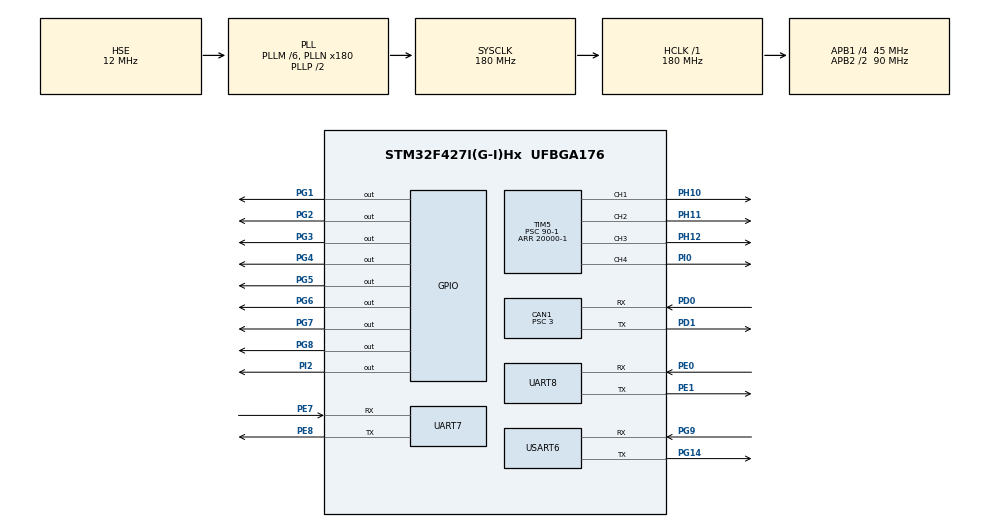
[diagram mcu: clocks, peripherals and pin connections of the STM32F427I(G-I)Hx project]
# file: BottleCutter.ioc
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CAN1.ABOM=ENABLE
CAN1.BS1=CAN_BS1_13TQ
CAN1.CalculateBaudRate=1000000
CAN1.CalculateTimeBit=999.99
CAN1.CalculateTimeQuantum=66.66666666666666
CAN1.NART=DISABLE
CAN1.Prescaler=3
Mcu.Family=STM32F4
Mcu.Name=STM32F427I(G-I)Hx
Mcu.Package=UFBGA176
NVIC.CAN1_RX0_IRQn=true\:1\:0\:true\:false\:true\:true\:true
NVIC.PriorityGroup=NVIC_PRIORITYGROUP_4
NVIC.TIM5_IRQn=true\:1\:0\:true\:false\:true\:true\:true
NVIC.UART7_IRQn=true\:1\:0\:true\:false\:true\:true\:true
NVIC.UART8_IRQn=true\:1\:0\:true\:false\:true\:true\:true
NVIC.USART6_IRQn=true\:1\:0\:true\:false\:true\:true\:true
PA13.Mode=Serial_Wire
PA13.Signal=SYS_JTMS-SWDIO
PA14.Mode=Serial_Wire
PA14.Signal=SYS_JTCK-SWCLK
PD0.Mode=CAN_Activate
PD0.Signal=CAN1_RX
PD1.Mode=CAN_Activate
PD1.Signal=CAN1_TX
PE0.Mode=Asynchronous
PE0.Signal=UART8_RX
PE1.Mode=Asynchronous
PE1.Signal=UART8_TX
PE7.Mode=Asynchronous
PE7.Signal=UART7_RX
PE8.Mode=Asynchronous
PE8.Signal=UART7_TX
PG1.GPIO_ModeDefaultOutputPP=GPIO_MODE_OUTPUT_PP
PG1.GPIO_PuPd=GPIO_NOPULL
PG1.GPIO_Speed=GPIO_SPEED_FREQ_VERY_HIGH
PG1.PinState=GPIO_PIN_SET
PG1.Signal=GPIO_Output
PG14.Mode=Asynchronous
PG14.Signal=USART6_TX
PG2.GPIO_ModeDefaultOutputPP=GPIO_MODE_OUTPUT_PP
PG2.GPIO_PuPd=GPIO_NOPULL
PG2.GPIO_Speed=GPIO_SPEED_FREQ_VERY_HIGH
PG2.PinState=GPIO_PIN_SET
PG2.Signal=GPIO_Output
PG3.GPIO_ModeDefaultOutputPP=GPIO_MODE_OUTPUT_PP
PG3.GPIO_PuPd=GPIO_NOPULL
PG3.GPIO_Speed=GPIO_SPEED_FREQ_VERY_HIGH
PG3.PinState=GPIO_PIN_SET
PG3.Signal=GPIO_Output
PG4.GPIO_ModeDefaultOutputPP=GPIO_MODE_OUTPUT_PP
PG4.GPIO_PuPd=GPIO_NOPULL
PG4.GPIO_Speed=GPIO_SPEED_FREQ_VERY_HIGH
PG4.PinState=GPIO_PIN_SET
PG4.Signal=GPIO_Output
PG5.GPIO_ModeDefaultOutputPP=GPIO_MODE_OUTPUT_PP
PG5.GPIO_PuPd=GPIO_NOPULL
PG5.GPIO_Speed=GPIO_SPEED_FREQ_VERY_HIGH
PG5.PinState=GPIO_PIN_SET
PG5.Signal=GPIO_Output
PG6.GPIO_ModeDefaultOutputPP=GPIO_MODE_OUTPUT_PP
PG6.GPIO_PuPd=GPIO_NOPULL
PG6.GPIO_Speed=GPIO_SPEED_FREQ_VERY_HIGH
PG6.PinState=GPIO_PIN_SET
PG6.Signal=GPIO_Output
PG7.GPIO_ModeDefaultOutputPP=GPIO_MODE_OUTPUT_PP
PG7.GPIO_PuPd=GPIO_NOPULL
PG7.GPIO_Speed=GPIO_SPEED_FREQ_VERY_HIGH
PG7.PinState=GPIO_PIN_SET
PG7.Signal=GPIO_Output
PG8.GPIO_ModeDefaultOutputPP=GPIO_MODE_OUTPUT_PP
PG8.GPIO_PuPd=GPIO_NOPULL
PG8.GPIO_Speed=GPIO_SPEED_FREQ_VERY_HIGH
PG8.PinState=GPIO_PIN_SET
PG8.Signal=GPIO_Output
PG9.Mode=Asynchronous
PG9.Signal=USART6_RX
PH0/OSC_IN.Mode=HSE-External-Oscillator
PH0/OSC_IN.Signal=RCC_OSC_IN
PH1/OSC_OUT.Mode=HSE-External-Oscillator
PH1/OSC_OUT.Signal=RCC_OSC_OUT
PH10.Signal=S_TIM5_CH1
PH11.Signal=S_TIM5_CH2
PH12.Signal=S_TIM5_CH3
PI0.Signal=S_TIM5_CH4
PI2.GPIO_Speed=GPIO_SPEED_FREQ_VERY_HIGH
PI2.Signal=GPIO_Output
ProjectManager.HeapSize=0x200
ProjectManager.StackSize=0x400
ProjectManager.TargetToolchain=MDK-ARM V5.32
RCC.48MHZClocksFreq_Value=90000000
RCC.AHBFreq_Value=180000000
RCC.APB1CLKDivider=RCC_HCLK_DIV4
RCC.APB1Freq_Value=45000000
RCC.APB1TimFreq_Value=90000000
RCC.APB2CLKDivider=RCC_HCLK_DIV2
RCC.APB2Freq_Value=90000000
RCC.APB2TimFreq_Value=180000000
RCC.CortexFreq_Value=180000000
RCC.HCLKFreq_Value=180000000
RCC.HSE_VALUE=12000000
RCC.HSI_VALUE=16000000
RCC.LSE_VALUE=32768
RCC.PLLM=6
RCC.PLLN=180
RCC.PLLSourceVirtual=RCC_PLLSOURCE_HSE
RCC.SYSCLKFreq_VALUE=180000000
RCC.SYSCLKSource=RCC_SYSCLKSOURCE_PLLCLK
RCC.VCOOutputFreq_Value=360000000
SH.S_TIM5_CH1.0=TIM5_CH1,PWM Generation1 CH1
SH.S_TIM5_CH2.0=TIM5_CH2,PWM Generation2 CH2
SH.S_TIM5_CH3.0=TIM5_CH3,PWM Generation3 CH3
SH.S_TIM5_CH4.0=TIM5_CH4,PWM Generation4 CH4
TIM5.Channel-PWM\ Generation1\ CH1=TIM_CHANNEL_1
TIM5.Channel-PWM\ Generation2\ CH2=TIM_CHANNEL_2
TIM5.Channel-PWM\ Generation3\ CH3=TIM_CHANNEL_3
TIM5.Channel-PWM\ Generation4\ CH4=TIM_CHANNEL_4
TIM5.Period=20000-1
TIM5.Prescaler=90-1
UART7.VirtualMode=Asynchronous
UART8.VirtualMode=Asynchronous
USART6.VirtualMode=VM_ASYNC
VP_TIM5_VS_ClockSourceINT.Mode=Internal
board=custom

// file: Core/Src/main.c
/* USER CODE BEGIN Header */
/**
  ******************************************************************************
  * @file           : main.c
  * @brief          : Main program body
  ******************************************************************************
  * @attention
  *
  * <h2><center>&copy; Copyright (c) 2021 STMicroelectronics.
  * All rights reserved.</center></h2>
  *
  * This software component is licensed by ST under BSD 3-Clause license,
  * the "License"; You may not use this file except in compliance with the
  * License. You may obtain a copy of the License at:
  *                        opensource.org/licenses/BSD-3-Clause
  *
  ******************************************************************************
  */
/* USER CODE END Header */
#include "main.h"
#include "can.h"
#include "tim.h"
#include "usart.h"
#include "gpio.h"

/* USER CODE BEGIN Includes */
#include "controller.h"

/* USER CODE END Includes */

/* USER CODE BEGIN PV */
// global time counter
float alltime;

// workflow controller
controller_t controller;

// debug controller; if true, the signals will be manually controlled
uart_stand_in_t stand_in;

// debug controller for the hotline; if true, the relay will be enabled
uint16_t switchH;

/* USER CODE END PV */

void SystemClock_Config(void);

int main(void)
{

  /* MCU Configuration--------------------------------------------------------*/

  /* Reset of all peripherals, Initializes the Flash interface and the Systick. */
  HAL_Init();

  /* Configure the system clock */
  SystemClock_Config();

  /* Initialize all configured peripherals */
  MX_GPIO_Init();
  MX_TIM5_Init();
  MX_CAN1_Init();
  MX_UART8_Init();
  MX_UART7_Init();
  MX_USART6_UART_Init();
  /* USER CODE BEGIN 2 */
	// indicator light
	HAL_GPIO_WritePin(GPIOG, GPIO_PIN_5, GPIO_PIN_RESET);

	// init the counter
	delay_Init();

	// init the workflow controller
	controller_init(&controller);

	// init the twodebug controller
	stand_in.turn_on = 0;
	stand_in.signal  = 0;
	stand_in.flag 	 = 0;

	switchH = 0;

  /* USER CODE END 2 */

  /* Infinite loop */
  /* USER CODE BEGIN WHILE */
	while (1)
  {
		// global time counter
		alltime = Get_SystemTimer_s();

		// enter certain work condition according to Signal
		if(*controller.Signal == Signal_START)
		{
			controller_task(&controller);
		}
		else if(*controller.Signal == Signal_ERROR)
		{
			controller_stop(&controller);
		}
		else if(*controller.Signal == Signal_END)
		{
			*controller.Signal = Signal_START;
			controller_reset(&controller);
		}

		// manually debugging - complete workflow
		if(stand_in.turn_on)
		{
			if(stand_in.signal == 1000) *controller.Signal = Signal_START;
			else if(stand_in.signal == 9999)
			{
				*controller.Signal = Signal_ERROR;
				*controller.Flag = Flag_INIT;
			}
			if(*controller.Signal==Signal_START)
			{
				if(stand_in.flag == 0000)			 *controller.Flag = Flag_INIT;
				else if(stand_in.flag == 1001) *controller.Flag = Flag_TRANSFER;
				else if(stand_in.flag == 1002) *controller.Flag = Flag_CUT;
				else if(stand_in.flag == 1003) *controller.Flag = Flag_REMOVE;
				else if(stand_in.flag == 1004) *controller.Flag = Flag_RELEASE;
			}
		}

		// manually debugging - hotline
//		if(switchH) HAL_GPIO_WritePin(GPIOI, GPIO_PIN_2, GPIO_PIN_SET);
//		else 				HAL_GPIO_WritePin(GPIOI, GPIO_PIN_2, GPIO_PIN_RESET);

    /* USER CODE END WHILE */

  }
}

void SystemClock_Config(void)
{
  RCC_OscInitTypeDef RCC_OscInitStruct = {0};
  RCC_ClkInitTypeDef RCC_ClkInitStruct = {0};

  /** Configure the main internal regulator output voltage
  */
  __HAL_RCC_PWR_CLK_ENABLE();
  __HAL_PWR_VOLTAGESCALING_CONFIG(PWR_REGULATOR_VOLTAGE_SCALE1);
  /** Initializes the RCC Oscillators according to the specified parameters
  * in the RCC_OscInitTypeDef structure.
  */
  RCC_OscInitStruct.OscillatorType = RCC_OSCILLATORTYPE_HSE;
  RCC_OscInitStruct.HSEState = RCC_HSE_ON;
  RCC_OscInitStruct.PLL.PLLState = RCC_PLL_ON;
  RCC_OscInitStruct.PLL.PLLSource = RCC_PLLSOURCE_HSE;
  RCC_OscInitStruct.PLL.PLLM = 6;
  RCC_OscInitStruct.PLL.PLLN = 180;
  RCC_OscInitStruct.PLL.PLLP = RCC_PLLP_DIV2;
  RCC_OscInitStruct.PLL.PLLQ = 4;
  if (HAL_RCC_OscConfig(&RCC_OscInitStruct) != HAL_OK)
  {
    Error_Handler();
  }
  /** Activate the Over-Drive mode
  */
  if (HAL_PWREx_EnableOverDrive() != HAL_OK)
  {
    Error_Handler();
  }
  /** Initializes the CPU, AHB and APB buses clocks
  */
  RCC_ClkInitStruct.ClockType = RCC_CLOCKTYPE_HCLK|RCC_CLOCKTYPE_SYSCLK
                              |RCC_CLOCKTYPE_PCLK1|RCC_CLOCKTYPE_PCLK2;
  RCC_ClkInitStruct.SYSCLKSource = RCC_SYSCLKSOURCE_PLLCLK;
  RCC_ClkInitStruct.AHBCLKDivider = RCC_SYSCLK_DIV1;
  RCC_ClkInitStruct.APB1CLKDivider = RCC_HCLK_DIV4;
  RCC_ClkInitStruct.APB2CLKDivider = RCC_HCLK_DIV2;

  if (HAL_RCC_ClockConfig(&RCC_ClkInitStruct, FLASH_LATENCY_5) != HAL_OK)
  {
    Error_Handler();
  }
}

void Error_Handler(void)
{
  __disable_irq();
  while (1)
  {
  }
}

/************************ (C) COPYRIGHT STMicroelectronics *****END OF FILE****/
